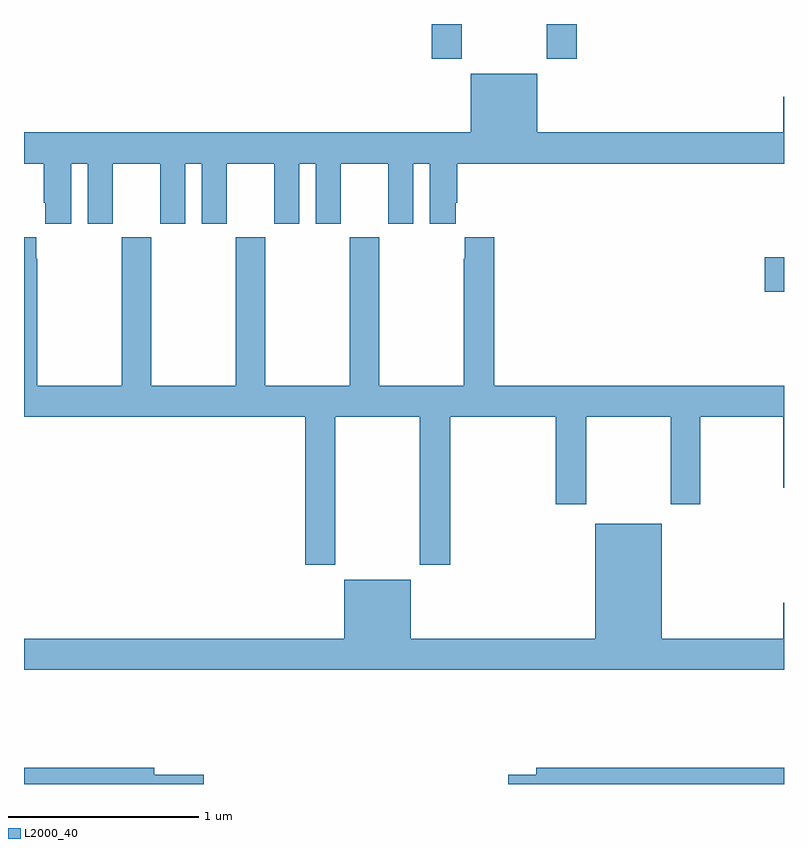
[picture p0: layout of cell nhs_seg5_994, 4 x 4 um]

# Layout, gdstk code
import gdstk
lib = gdstk.Library(unit=1e-6, precision=1e-09)
def R(c, l, rs):  # rectangles x0, y0, x1, y1
    for r in rs: c.add(gdstk.rectangle(r[:2], r[2:], *l))
def P(c, l, *ps):  # polygons
    for p in ps: c.add(gdstk.Polygon(p, *l))
L2000_40 = (2000, 40)

nhs_seg5_994 = lib.new_cell('nhs_seg5_994')
R(nhs_seg5_994, L2000_40, [(176.898,885.389,177,885.572), (175.145,886.617,175.305,886.799), (175.75,886.617,175.91,886.799)])
P(nhs_seg5_994, L2000_40, [(173.248,886.064),(173.336,886.064),(173.336,885.747),(173.467,885.747),(173.467,886.064),(173.717,886.064),(173.717,885.747),(173.848,885.747),(173.848,886.064),(173.936,886.064),(173.936,885.747),(174.067,885.747),(174.067,886.064),(174.317,886.064),(174.317,885.747),(174.448,885.747),(174.448,886.064),(174.536,886.064),(174.536,885.747),(174.667,885.747),(174.667,886.064),(174.917,886.064),(174.917,885.747),(175.048,885.747),(175.048,886.064),(175.136,886.064),(175.136,885.747),(175.273,885.747),(175.273,885.859),(175.28,885.859),(175.28,886.064),(177,886.064),(177,886.417),(176.996,886.417),(176.996,886.228),(175.702,886.228),(175.702,886.537),(175.352,886.537),(175.352,886.228),(173,886.228),(173,886.064),(173.105,886.064),(173.105,885.859),(173.111,885.859),(173.111,885.747),(173.248,885.747)],
  [(174.639,884.732),(175.084,884.732),(175.084,883.953),(175.244,883.953),(175.244,884.732),(175.799,884.732),(175.799,884.271),(175.959,884.271),(175.959,884.732),(176.404,884.732),(176.404,884.271),(176.559,884.271),(176.559,884.732),(176.996,884.732),(176.996,884.358),(177,884.358),(177,884.896),(175.475,884.896),(175.475,885.676),(175.319,885.676),(175.319,885.563),(175.315,885.563),(175.315,884.896),(174.87,884.896),(174.87,885.676),(174.715,885.676),(174.715,884.896),(174.27,884.896),(174.27,885.676),(174.115,885.676),(174.115,884.896),(173.67,884.896),(173.67,885.676),(173.515,885.676),(173.515,884.896),(173.07,884.896),(173.07,885.563),(173.065,885.563),(173.065,885.676),(173,885.676),(173,884.732),(174.479,884.732),(174.479,883.953),(174.639,883.953)],
  [(177,883.753),(176.996,883.753),(176.996,883.564),(176.356,883.564),(176.356,884.17),(176.006,884.17),(176.006,883.564),(175.036,883.564),(175.036,883.873),(174.686,883.873),(174.686,883.564),(173,883.564),(173,883.4),(177,883.4)],
  [(177,882.884),(175.697,882.884),(175.697,882.848),(175.548,882.848),(175.548,882.799),(177,882.799)],
  [(173.947,882.848),(173.686,882.848),(173.686,882.884),(173,882.884),(173,882.799),(173.947,882.799)])

lib.write_gds('nhs_seg5_994.gds')
